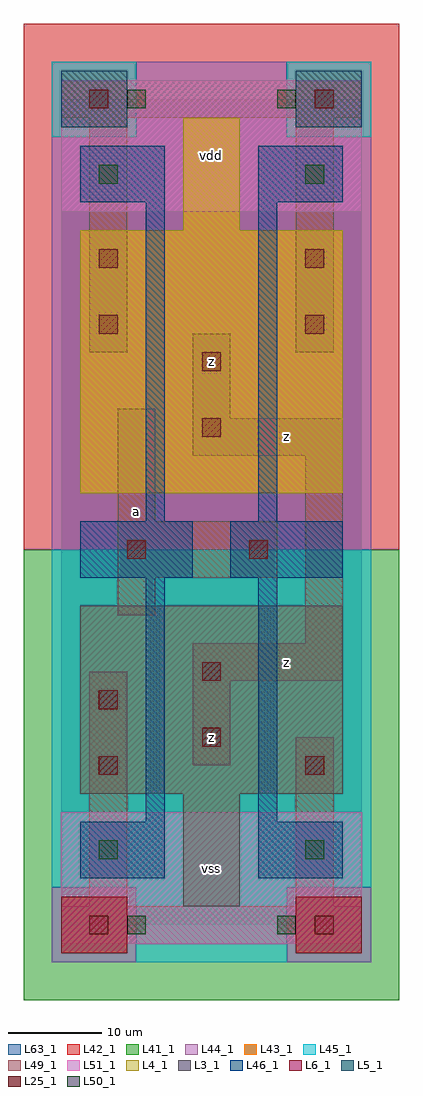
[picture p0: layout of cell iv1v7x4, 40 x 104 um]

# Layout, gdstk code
import gdstk
lib = gdstk.Library(unit=1e-6, precision=1e-09)
def R(c, l, rs):  # rectangles x0, y0, x1, y1
    for r in rs: c.add(gdstk.rectangle(r[:2], r[2:], *l))
L3_1 = (3, 1)
L4_1 = (4, 1)
L5_1 = (5, 1)
L6_1 = (6, 1)
L25_1 = (25, 1)
L41_1 = (41, 1)
L42_1 = (42, 1)
L43_1 = (43, 1)
L44_1 = (44, 1)
L45_1 = (45, 1)
L46_1 = (46, 1)
L49_1 = (49, 1)
L50_1 = (50, 1)
L51_1 = (51, 1)
L63_1 = (63, 1)

iv1v7x4 = lib.new_cell('iv1v7x4')
R(iv1v7x4, L3_1, [(13,2,19,14), (2,14,30,34)])
R(iv1v7x4, L4_1, [(2,46,30,74), (13,74,19,86)])
R(iv1v7x4, L5_1, [(0,85,7,91), (25,85,32,91)])
R(iv1v7x4, L6_1, [(0,-3,7,3), (0,-3,7,3), (25,-3,32,3), (25,-3,32,3)])
R(iv1v7x4, L25_1, [(3,-1,5,1), (27,-1,29,1), (4,16,6,18), (26,16,28,18), (15,19,17,21), (4,23,6,25), (15,26,17,28), (7,39,9,41), (20,39,22,41), (15,52,17,54), (15,59,17,61), (4,63,6,65), (26,63,28,65), (4,70,6,72), (26,70,28,72), (3,87,5,89), (27,87,29,89)])
R(iv1v7x4, L41_1, [(-4,-8,36,40)])
R(iv1v7x4, L42_1, [(-4,40,36,96)])
R(iv1v7x4, L43_1, [(0,-3,7,3), (25,-3,32,3), (13,2,19,14), (2,14,30,34), (2,46,30,74), (13,74,19,86), (0,85,7,91), (25,85,32,91)])
R(iv1v7x4, L44_1, [(-1,-4,8,4), (24,-4,33,4), (-1,40,33,84), (8,84,24,92)])
R(iv1v7x4, L45_1, [(8,-4,24,4), (-1,4,33,40), (-1,84,8,92), (24,84,33,92)])
R(iv1v7x4, L46_1, [(2,5,11,11), (21,5,30,11), (9,11,11,37), (21,11,23,37), (2,37,14,43), (18,37,30,43), (9,43,11,77), (21,43,23,77), (2,77,11,83), (21,77,30,83)])
R(iv1v7x4, L49_1, [(0,-2,32,2), (3,2,7,27), (25,2,29,20), (14,17,18,26), (14,26,30,30), (26,30,30,50), (6,33,10,37), (6,37,23,43), (6,43,10,55), (14,50,30,54), (14,54,18,63), (3,61,7,86), (25,61,29,86), (0,86,32,90)])
R(iv1v7x4, L50_1, [(7,-1,9,1), (23,-1,25,1), (4,7,6,9), (26,7,28,9), (4,79,6,81), (26,79,28,81), (7,87,9,89), (23,87,25,89)])
R(iv1v7x4, L51_1, [(0,-2,32,12), (0,76,32,90)])
R(iv1v7x4, L63_1, [(0,0,32,88)])
iv1v7x4.add(gdstk.Label('a', (8,44), layer=49, texttype=1))
iv1v7x4.add(gdstk.Label('z', (16,20), layer=49, texttype=1))
iv1v7x4.add(gdstk.Label('z', (16,60), layer=49, texttype=1))
iv1v7x4.add(gdstk.Label('z', (24,28), layer=49, texttype=1))
iv1v7x4.add(gdstk.Label('z', (24,52), layer=49, texttype=1))
iv1v7x4.add(gdstk.Label('vss', (16,6), layer=51, texttype=1))
iv1v7x4.add(gdstk.Label('vss', (16,6), layer=51, texttype=1))
iv1v7x4.add(gdstk.Label('vdd', (16,82), layer=51, texttype=1))

lib.write_gds('iv1v7x4.gds')
